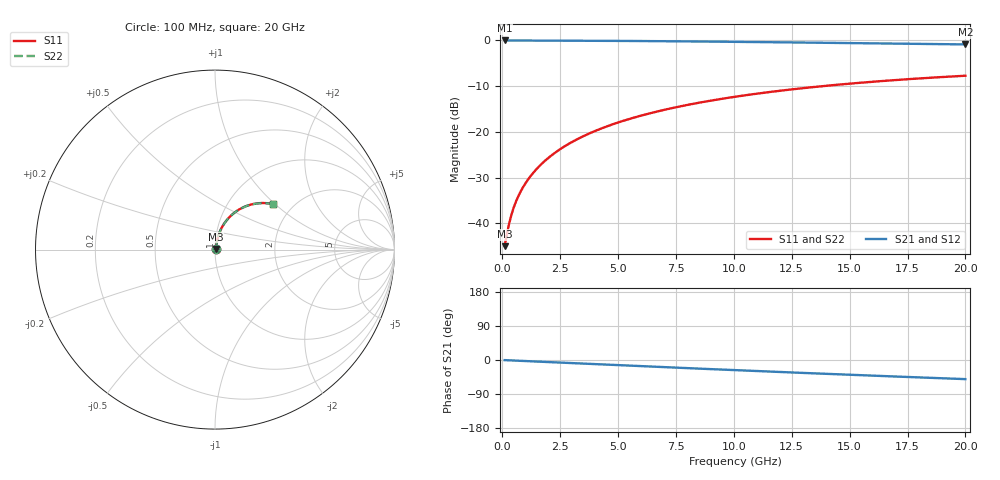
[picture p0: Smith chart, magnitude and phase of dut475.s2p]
! Touchstone file exported from HFSS 2026.1.0
!  File:  C:/ffzhzh/LocalFiles/Ansys_Project_Files/temp_train_BSMRDL_475_1783013743_4048.aedt
!  Generated:  01:37:01 AM Jul  3, 2026
!  Design:  BSMRDL
!  Project:  temp_train_BSMRDL_475_1783013743_4048
! Variables:
!  h_bsmrdl = 2.05um
!  h_ox = 20um
!  h_rdl = 5um
!  h_sub = 80um
!  h_tmrdl = 5um
!  h_tsv = 80um
!  h_via = 3um
!  l_bsmrdl = 760.39um
!  l_sub = 1160.39um
!  l_tmrdl = 200um
!  m_sub = 200um
!  pitch = 55.2um
!  r_tsv = 6um
!  s_tmrdl = 10um
!  w_bsmrdl = 29.54um
!  w_sub = 500um
!  w_tmrdl = 12um
!  x_tsv_center1 = 206um
!  x_tsv_center2 = 995.93um
!  x_tsv_center3 = 1207.93um
!  x_tsv_center4 = 1997.86um
!  x_tsv_center5 = 2209.86um
!  x_tsv_center6 = 2999.79um
# GHz S MA R 50.000000
! Terminal data exported
! Port[1] = BSM_RDL1_1_T1
! Port[2] = BSM_RDL1_1_T2
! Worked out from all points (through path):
!   200 points, 100 MHz to 20 GHz, reference 50 ohm
!   highest |S21| = -0.04 dB at 100 MHz (marker M1); lowest = -0.9 dB at 20 GHz (marker M2)
!   group delay of S21, straight-line fit = 7.02 ps
!   lowest |S11| = -45.0 dB at 100 MHz (marker M3), VSWR 1.01, Z = 50.5 + j0.295 ohm
!   |S11| at or under -10 dB: start of sweep to 13.87 GHz
!   |S22| runs from -45.0 to -7.7 dB; largest |S21 - S12| = 3.6e-15
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0.1  0.00565 31.1  0.9952 -0.3  0.9952 -0.3  0.00565 31.1
! Gamma 0 0 0 0
! Port Impedance 50 0 50 0
0.2  0.007677 48.9  0.995 -0.6  0.995 -0.6  0.007677 48.9
0.3  0.01009 58.0  0.9947 -0.9  0.9947 -0.9  0.01009 57.9
0.4  0.01259 63.1  0.9945 -1.2  0.9945 -1.2  0.01259 63.1
0.5  0.01509 66.3  0.9942 -1.4  0.9942 -1.4  0.01509 66.3
0.6  0.01758 68.6  0.9939 -1.7  0.9939 -1.7  0.01758 68.6
0.8  0.02251 71.6  0.9935 -2.2  0.9935 -2.2  0.02251 71.6
1.1  0.02989 74.3  0.993 -3.1  0.993 -3.1  0.02989 74.3
1.3  0.03483 75.3  0.9927 -3.6  0.9927 -3.6  0.03483 75.3
1.6  0.04228 76.3  0.9923 -4.4  0.9923 -4.4  0.04228 76.3
2.1  0.05475 76.9  0.9916 -5.8  0.9916 -5.8  0.05475 76.9
2.7  0.06974 76.8  0.9905 -7.4  0.9905 -7.4  0.06974 76.8
3.5  0.08967 75.8  0.9887 -9.5  0.9887 -9.5  0.08968 75.8
4.2  0.107 74.6  0.9869 -11.4  0.9869 -11.4  0.107 74.6
5  0.1265 73.0  0.9844 -13.6  0.9844 -13.6  0.1266 73.0
5.9  0.1482 71.1  0.9812 -16.0  0.9812 -16.0  0.1482 71.0
6.8  0.1694 69.0  0.9775 -18.3  0.9775 -18.3  0.1694 68.9
8.3  0.2037 65.4  0.9706 -22.3  0.9706 -22.3  0.2037 65.3
10.1  0.2427 61.1  0.9612 -26.9  0.9612 -26.9  0.2427 61.0
13.4  0.3077 53.2  0.9417 -35.1  0.9417 -35.1  0.3077 53.0
16.7  0.3635 45.5  0.921 -43.0  0.921 -43.0  0.3636 45.4
20  0.4101 38.2  0.901 -50.5  0.901 -50.5  0.4101 38.0
